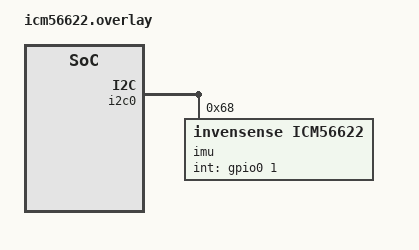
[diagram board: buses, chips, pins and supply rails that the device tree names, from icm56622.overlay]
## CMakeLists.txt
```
# Copyright The Zephyr Project Contributors
# SPDX-License-Identifier: Apache-2.0

cmake_minimum_required(VERSION 3.28.0)
find_package(Zephyr REQUIRED HINTS $ENV{ZEPHYR_BASE})
project(icm566xx)

target_include_directories(app PRIVATE ${ZEPHYR_BASE}/drivers/sensor/tdk/icm566xx)
target_sources(app PRIVATE src/main.c)
```

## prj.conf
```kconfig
# Copyright The Zephyr Project Contributors
# SPDX-License-Identifier: Apache-2.0

CONFIG_ZTEST=y
CONFIG_SENSOR=y
CONFIG_SENSOR_ASYNC_API=y
CONFIG_EMUL=y
CONFIG_GPIO=y
# No emulator backs the device, only its decoder is tested
CONFIG_SENSOR_LOG_LEVEL_OFF=y
```

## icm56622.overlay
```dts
/*
 * Copyright The Zephyr Project Contributors
 *
 * SPDX-License-Identifier: Apache-2.0
 */

#include <zephyr/dt-bindings/gpio/gpio.h>
#include <zephyr/dt-bindings/sensor/icm566xx.h>

&i2c0 {
	imu: icm56622@68 {
		compatible = "invensense,icm56622";
		reg = <0x68>;
		int-gpios = <&gpio0 1 GPIO_ACTIVE_HIGH>;
		accel-fs = <ICM566XX_DT_ACCEL_FS_16>;
		gyro-fs = <ICM566XX_DT_GYRO_FS_2000>;
		fifo-watermark = <4>;
	};
};
```

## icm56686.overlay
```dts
/*
 * Copyright The Zephyr Project Contributors
 *
 * SPDX-License-Identifier: Apache-2.0
 */

#include <zephyr/dt-bindings/gpio/gpio.h>
#include <zephyr/dt-bindings/sensor/icm566xx.h>

&i2c0 {
	imu: icm56686@68 {
		compatible = "invensense,icm56686";
		reg = <0x68>;
		int-gpios = <&gpio0 1 GPIO_ACTIVE_HIGH>;
		accel-fs = <ICM566XX_DT_ACCEL_FS_32>;
		gyro-fs = <ICM566XX_DT_GYRO_FS_4000>;
		fifo-watermark = <4>;
	};
};
```

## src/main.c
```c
/*
 * Copyright The Zephyr Project Contributors
 *
 * SPDX-License-Identifier: Apache-2.0
 */

#include <zephyr/drivers/sensor.h>
#include <zephyr/sys/byteorder.h>
#include <zephyr/ztest.h>

#include "icm566xx.h"

#define HIGH_FSR IS_ENABLED(CONFIG_DT_HAS_INVENSENSE_ICM56686_ENABLED)

/* Register data has 20 bits on the ICM56686, FIFO frames have 20 bits on both parts */
#define REG_BITS  (HIGH_FSR ? 20 : 16)
#define FIFO_BITS 20

/* FIFO frames are at the highest full scale of the part */
#define FIFO_ACCEL_FS (HIGH_FSR ? ICM566XX_DT_ACCEL_FS_32 : ICM566XX_DT_ACCEL_FS_16)
#define FIFO_GYRO_FS  (HIGH_FSR ? ICM566XX_DT_GYRO_FS_4000 : ICM566XX_DT_GYRO_FS_2000)

/* Allowed error of a decoded value, in micro-units */
#define TOLERANCE_MICRO 100

#define TIMESTAMP_NS 1234567890123ULL

/* Header byte of a 20-byte FIFO frame with accel, gyro and timestamp */
#define FIFO_HEADER 0x78

#define FIFO_FRAMES     4
#define FIFO_DATA_BYTES (FIFO_FRAMES * sizeof(struct icm566xx_encoded_fifo_payload))

/* Encoded channel mask of all channels */
#define ALL_CHANNELS 0x7F

static const struct sensor_decoder_api *decoder = SENSOR_DECODER_DT_GET(DT_NODELABEL(imu));

static const struct sensor_chan_spec chan_accel = {SENSOR_CHAN_ACCEL_XYZ, 0};
static const struct sensor_chan_spec chan_gyro = {SENSOR_CHAN_GYRO_XYZ, 0};
static const struct sensor_chan_spec chan_temp = {SENSOR_CHAN_DIE_TEMP, 0};

static const struct sensor_chan_spec chan_axes[] = {
	{SENSOR_CHAN_ACCEL_X, 0}, {SENSOR_CHAN_ACCEL_Y, 0}, {SENSOR_CHAN_ACCEL_Z, 0},
	{SENSOR_CHAN_GYRO_X, 0},  {SENSOR_CHAN_GYRO_Y, 0},  {SENSOR_CHAN_GYRO_Z, 0},
};

/* Expected shifts, indexed by the ICM566XX_DT_*_FS_* value */
static const int8_t accel_shift[] = {9, 8, 7, 6, 5};
static const int8_t gyro_shift[] = {12, 11, 10, 9, 8, 7, 6, 5, 4};

#define SHIFT_HEADROOM (HIGH_FSR ? 4 : 0)

/* One-shot sample: accel and gyro X/Y/Z, then temperature */
static const int32_t sample_raw[] = {1000, -2000, 32767, -32768, 1234, -5};
static const uint8_t sample_lsb[] = {0x5, 0xA, 0xF, 0x3, 0x0, 0xC};

static uint8_t buffer[sizeof(struct icm566xx_encoded_data) + FIFO_DATA_BYTES] __aligned(8);
static struct icm566xx_encoded_data *const edata = (struct icm566xx_encoded_data *)buffer;

static int64_t q31_to_micro(q31_t value, int8_t shift)
{
	return ((int64_t)value * 1000000) >> (31 - shift);
}

/* Expected accel value in micro-m/s^2 */
static int64_t accel_micro(int32_t raw, int bits, uint8_t fs)
{
	/* ICM566XX_DT_ACCEL_FS_32 is 32 g, each next value halves the full scale */
	return (int64_t)raw * SENSOR_G * 32 / ((1LL << (bits - 1)) << fs);
}

/* Expected gyro value in micro-rad/s */
static int64_t gyro_micro(int32_t raw, int bits, uint8_t fs)
{
	/* ICM566XX_DT_GYRO_FS_4000 is 4000 dps, each next value halves the full scale */
	return (int64_t)raw * 4000 * SENSOR_PI / 180 / ((1LL << (bits - 1)) << fs);
}

/* Expected temperature in micro-degC: 132.48 LSB/degC, 25 degC at 0 */
static int64_t temp_micro(int16_t raw)
{
	return (int64_t)raw * 100000000 / 13248 + 25000000;
}

static void check_micro(q31_t value, int8_t shift, int64_t expected)
{
	int64_t actual = q31_to_micro(value, shift);

	zassert_within(actual, expected, TOLERANCE_MICRO, "got %lld, expected %lld", actual,
		       expected);
}

/* Raw register value of sample_raw[pos], with the EXT_DATA bits on the ICM56686 */
static int32_t sample_value(int pos)
{
	return HIGH_FSR ? sample_raw[pos] * 16 + sample_lsb[pos] : sample_raw[pos];
}

static void fill_one_shot(uint8_t accel_fs, uint8_t gyro_fs, uint8_t channels, int16_t temp)
{
	uint8_t *regs = (uint8_t *)&edata->payload;

	memset(buffer, 0, sizeof(buffer));
	edata->header.timestamp = TIMESTAMP_NS;
	edata->header.accel_fs = accel_fs;
	edata->header.gyro_fs = gyro_fs;
	edata->header.channels = channels;

	for (int i = 0; i < ARRAY_SIZE(sample_raw); i++) {
		sys_put_le16((uint16_t)sample_raw[i], &regs[i * 2]);
	}
	sys_put_le16((uint16_t)temp, &regs[12]);

#if defined(CONFIG_DT_HAS_INVENSENSE_ICM56686_ENABLED)
	for (int i = 0; i < 3; i++) {
		edata->payload.ext_data[i] = sample_lsb[i] | (sample_lsb[i + 3] << 4);
	}
#endif
}

static void check_unsupported(struct sensor_chan_spec chan)
{
	struct sensor_three_axis_data out;
	uint16_t frame_count;
	uint32_t fit = 0;

	zassert_equal(decoder->get_frame_count(buffer, chan, &frame_count), -ENOTSUP);
	zassert_equal(decoder->decode(buffer, chan, &fit, 1, &out), -ENOTSUP);
}

static void check_no_data(struct sensor_chan_spec chan)
{
	struct sensor_three_axis_data out;
	uint16_t frame_count;
	uint32_t fit = 0;

	zassert_equal(decoder->get_frame_count(buffer, chan, &frame_count), -ENODATA);
	zassert_equal(decoder->decode(buffer, chan, &fit, 1, &out), -ENODATA);
}

ZTEST(icm566xx_decoder, test_size_info)
{
	size_t base_size;
	size_t frame_size;

	zassert_ok(decoder->get_size_info(chan_accel, &base_size, &frame_size));
	zassert_equal(base_size, sizeof(struct sensor_three_axis_data));
	zassert_equal(frame_size, sizeof(struct sensor_three_axis_sample_data));

	zassert_ok(decoder->get_size_info(chan_gyro, &base_size, &frame_size));
	zassert_equal(base_size, sizeof(struct sensor_three_axis_data));
	zassert_equal(frame_size, sizeof(struct sensor_three_axis_sample_data));

	zassert_ok(decoder->get_size_info(chan_temp, &base_size, &frame_size));
	zassert_equal(base_size, sizeof(struct sensor_q31_data));
	zassert_equal(frame_size, sizeof(struct sensor_q31_sample_data));

	for (int i = 0; i < ARRAY_SIZE(chan_axes); i++) {
		zassert_ok(decoder->get_size_info(chan_axes[i], &base_size, &frame_size));
		zassert_equal(base_size, sizeof(struct sensor_q31_data));
		zassert_equal(frame_size, sizeof(struct sensor_q31_sample_data));
	}

	zassert_equal(decoder->get_size_info((struct sensor_chan_spec){SENSOR_CHAN_MAGN_XYZ, 0},
					     &base_size, &frame_size),
		      -ENOTSUP);
	zassert_equal(decoder->get_size_info((struct sensor_chan_spec){SENSOR_CHAN_LIGHT, 0},
					     &base_size, &frame_size),
		      -ENOTSUP);
}

static void check_one_shot_xyz(struct sensor_chan_spec chan, int8_t shift, uint8_t fs)
{
	const int first = (chan.chan_type == SENSOR_CHAN_ACCEL_XYZ) ? 0 : 3;
	struct sensor_three_axis_data out;
	uint16_t frame_count;
	uint32_t fit = 0;

	zassert_ok(decoder->get_frame_count(buffer, chan, &frame_count));
	zassert_equal(frame_count, 1);

	zassert_equal(decoder->decode(buffer, chan, &fit, 1, &out), 1);
	zassert_equal(out.header.reading_count, 1);
	zassert_equal(out.header.base_timestamp_ns + out.readings[0].timestamp_delta, TIMESTAMP_NS);
	zassert_equal(out.shift, shift, "fs %u: shift %d", fs, out.shift);

	for (int i = 0; i < 3; i++) {
		int32_t raw = sample_value(first + i);
		int64_t expected = (first == 0) ? accel_micro(raw, REG_BITS, fs)
						: gyro_micro(raw, REG_BITS, fs);

		check_micro(out.readings[0].values[i], out.shift, expected);
	}

	zassert_equal(decoder->decode(buffer, chan, &fit, 1, &out), 0);
}

static void check_one_shot_axis(int pos, int8_t shift, uint8_t fs)
{
	struct sensor_q31_data out;
	uint16_t frame_count;
	uint32_t fit = 0;
	int32_t raw = sample_value(pos);
	int64_t expected =
		(pos < 3) ? accel_micro(raw, REG_BITS, fs) : gyro_micro(raw, REG_BITS, fs);

	zassert_ok(decoder->get_frame_count(buffer, chan_axes[pos], &frame_count));
	zassert_equal(frame_count, 1);

	zassert_equal(decoder->decode(buffer, chan_axes[pos], &fit, 1, &out), 1);
	zassert_equal(out.header.reading_count, 1);
	zassert_equal(out.header.base_timestamp_ns + out.readings[0].timestamp_delta, TIMESTAMP_NS);
	zassert_equal(out.shift, shift);
	check_micro(out.readings[0].value, out.shift, expected);
	zassert_equal(decoder->decode(buffer, chan_axes[pos], &fit, 1, &out), 0);
}

ZTEST(icm566xx_decoder, test_one_shot_accel)
{
	for (uint8_t fs = ICM566XX_DT_ACCEL_FS_32; fs <= ICM566XX_DT_ACCEL_FS_2; fs++) {
		int8_t shift = accel_shift[fs] + SHIFT_HEADROOM;

		fill_one_shot(fs, ICM566XX_DT_GYRO_FS_2000, ALL_CHANNELS, 0);
		check_one_shot_xyz(chan_accel, shift, fs);

		for (int pos = 0; pos < 3; pos++) {
			check_one_shot_axis(pos, shift, fs);
		}
	}
}

ZTEST(icm566xx_decoder, test_one_shot_gyro)
{
	for (uint8_t fs = ICM566XX_DT_GYRO_FS_4000; fs <= ICM566XX_DT_GYRO_FS_15_625; fs++) {
		int8_t shift = gyro_shift[fs] + SHIFT_HEADROOM;

		fill_one_shot(ICM566XX_DT_ACCEL_FS_16, fs, ALL_CHANNELS, 0);
		check_one_shot_xyz(chan_gyro, shift, fs);

		for (int pos = 3; pos < 6; pos++) {
			check_one_shot_axis(pos, shift, fs);
		}
	}
}

ZTEST(icm566xx_decoder, test_one_shot_temp)
{
	static const int16_t temps[] = {0, 13248, -6624, -32768, 32767};
	struct sensor_q31_data out;
	uint16_t frame_count;
	uint32_t fit;

	for (int i = 0; i < ARRAY_SIZE(temps); i++) {
		fill_one_shot(ICM566XX_DT_ACCEL_FS_16, ICM566XX_DT_GYRO_FS_2000, ALL_CHANNELS,
			      temps[i]);

		zassert_ok(decoder->get_frame_count(buffer, chan_temp, &frame_count));
		zassert_equal(frame_count, 1);

		fit = 0;
		zassert_equal(decoder->decode(buffer, chan_temp, &fit, 1, &out), 1);
		zassert_equal(out.header.reading_count, 1);
		zassert_equal(out.header.base_timestamp_ns + out.readings[0].timestamp_delta,
			      TIMESTAMP_NS);
		zassert_equal(out.shift, 9);
		check_micro(out.readings[0].temperature, out.shift, temp_micro(temps[i]));
	}
}

ZTEST(icm566xx_decoder, test_one_shot_channels)
{
	struct sensor_three_axis_data out;
	uint32_t fit = 0;

	/* Only the accelerometer was requested */
	fill_one_shot(ICM566XX_DT_ACCEL_FS_16, ICM566XX_DT_GYRO_FS_2000, 0x07, 0);

	zassert_equal(decoder->decode(buffer, chan_accel, &fit, 1, &out), 1);
	check_no_data(chan_gyro);
	check_no_data(chan_temp);
	check_no_data(chan_axes[3]);

	/* Only the accelerometer Y axis was requested */
	fill_one_shot(ICM566XX_DT_ACCEL_FS_16, ICM566XX_DT_GYRO_FS_2000, BIT(1), 0);
	fit = 0;
	zassert_equal(decoder->decode(buffer, chan_axes[1], &fit, 1, &out), 1);
	check_no_data(chan_accel);
	check_no_data(chan_axes[0]);
}

ZTEST(icm566xx_decoder, test_one_shot_errors)
{
	struct sensor_three_axis_data out;
	uint32_t fit = 0;

	fill_one_shot(ICM566XX_DT_ACCEL_FS_16, ICM566XX_DT_GYRO_FS_2000, ALL_CHANNELS, 0);

	zassert_equal(decoder->decode(buffer, chan_accel, &fit, 0, &out), 0);

	check_unsupported((struct sensor_chan_spec){SENSOR_CHAN_ACCEL_XYZ, 1});
	check_unsupported((struct sensor_chan_spec){SENSOR_CHAN_MAGN_XYZ, 0});
	check_unsupported((struct sensor_chan_spec){SENSOR_CHAN_LIGHT, 0});

	zassert_false(decoder->has_trigger(buffer, SENSOR_TRIG_DATA_READY));
	zassert_false(decoder->has_trigger(buffer, SENSOR_TRIG_FIFO_WATERMARK));
	zassert_false(decoder->has_trigger(buffer, SENSOR_TRIG_FIFO_FULL));

	/* Invalid full scale values */
	fill_one_shot(ICM566XX_DT_ACCEL_FS_2 + 1, ICM566XX_DT_GYRO_FS_15_625 + 1, ALL_CHANNELS, 0);
	fit = 0;
	zassert_equal(decoder->decode(buffer, chan_accel, &fit, 1, &out), -EINVAL);
	zassert_equal(decoder->decode(buffer, chan_gyro, &fit, 1, &out), -EINVAL);
	zassert_equal(decoder->decode(buffer, chan_temp, &fit, 1, &out), 1);
}

ZTEST(icm566xx_decoder, test_data_ready)
{
	struct sensor_three_axis_data out;
	uint16_t frame_count;
	uint32_t fit = 0;

	/* Stream buffer for a data ready trigger with SENSOR_STREAM_DATA_INCLUDE */
	fill_one_shot(ICM566XX_DT_ACCEL_FS_16, ICM566XX_DT_GYRO_FS_2000, ALL_CHANNELS, 0);
	edata->header.events = BIT(0);

	zassert_true(decoder->has_trigger(buffer, SENSOR_TRIG_DATA_READY));
	zassert_false(decoder->has_trigger(buffer, SENSOR_TRIG_FIFO_WATERMARK));
	zassert_false(decoder->has_trigger(buffer, SENSOR_TRIG_FIFO_FULL));

	zassert_ok(decoder->get_frame_count(buffer, chan_accel, &frame_count));
	zassert_equal(frame_count, 1);
	zassert_equal(decoder->decode(buffer, chan_accel, &fit, 1, &out), 1);
	zassert_equal(out.header.base_timestamp_ns, TIMESTAMP_NS);
	check_micro(out.readings[0].x, out.shift,
		    accel_micro(sample_value(0), REG_BITS, ICM566XX_DT_ACCEL_FS_16));
}

/* FIFO frame values, 20 bits */
static int32_t fifo_accel(int frame, int axis)
{
	static const int32_t base[] = {7, -3, 524287};

	return base[axis] + ((axis == 2) ? -frame : frame * (1000 - 3000 * axis));
}

static int32_t fifo_gyro(int frame, int axis)
{
	static const int32_t base[] = {-524000, 9, -9};

	return base[axis] + ((axis == 0) ? frame : frame * (333 - 4777 * axis));
}

static int16_t fifo_temp(int frame)
{
	return -5000 + frame * 3000;
}

static void fill_fifo(uint8_t events)
{
	memset(buffer, 0, sizeof(buffer));
	edata->header.timestamp = TIMESTAMP_NS;
	edata->header.events = events;
	/* As set by the driver for FIFO data */
	edata->header.accel_fs = ICM566XX_DT_ACCEL_FS_32;
	edata->header.gyro_fs = ICM566XX_DT_GYRO_FS_4000;
	edata->header.channels = ALL_CHANNELS;
	edata->header.fifo_count = FIFO_FRAMES;

	for (int i = 0; i < FIFO_FRAMES; i++) {
		uint8_t *frame = edata->fifo_payload[i].buf;

		frame[0] = FIFO_HEADER;
		for (int axis = 0; axis < 3; axis++) {
			int32_t accel = fifo_accel(i, axis);
			int32_t gyro = fifo_gyro(i, axis);

			sys_put_le16((uint16_t)(accel >> 4), &frame[1 + axis * 2]);
			sys_put_le16((uint16_t)(gyro >> 4), &frame[7 + axis * 2]);
			frame[17 + axis] = ((accel & 0xF) << 4) | (gyro & 0xF);
		}
		sys_put_le16((uint16_t)fifo_temp(i), &frame[13]);
		sys_put_le16(0x1234 + i, &frame[15]);
	}
}

/* Mark a sensor as without data in a FIFO frame */
static void fifo_no_data(int frame, int offset)
{
	sys_put_le16(FIFO_NO_DATA, &edata->fifo_payload[frame].buf[offset]);
}

static void check_fifo_xyz(struct sensor_chan_spec chan, const int *frames, int count)
{
	const bool accel = chan.chan_type == SENSOR_CHAN_ACCEL_XYZ;
	const int8_t shift = accel ? accel_shift[FIFO_ACCEL_FS] + SHIFT_HEADROOM
				   : gyro_shift[FIFO_GYRO_FS] + SHIFT_HEADROOM;
	uint8_t out_buf[sizeof(struct sensor_three_axis_data) +
			(FIFO_FRAMES - 1) * sizeof(struct sensor_three_axis_sample_data)]
		__aligned(8);
	struct sensor_three_axis_data *out = (struct sensor_three_axis_data *)out_buf;
	uint16_t frame_count;
	uint32_t fit = 0;

	zassert_ok(decoder->get_frame_count(buffer, chan, &frame_count));
	zassert_equal(frame_count, count);

	/* All readings at once */
	zassert_equal(decoder->decode(buffer, chan, &fit, FIFO_FRAMES, out), count);
	zassert_equal(out->header.reading_count, count);
	zassert_equal(out->shift, shift);

	for (int i = 0; i < count; i++) {
		const struct sensor_three_axis_sample_data *reading = &out->readings[i];

		zassert_equal(out->header.base_timestamp_ns + reading->timestamp_delta,
			      TIMESTAMP_NS);

		for (int axis = 0; axis < 3; axis++) {
			int64_t expected = accel ? accel_micro(fifo_accel(frames[i], axis),
							       FIFO_BITS, FIFO_ACCEL_FS)
						 : gyro_micro(fifo_gyro(frames[i], axis), FIFO_BITS,
							      FIFO_GYRO_FS);

			check_micro(reading->values[axis], out->shift, expected);
		}
	}

	zassert_equal(decoder->decode(buffer, chan, &fit, FIFO_FRAMES, out), 0);

	/* One reading at a time */
	fit = 0;
	for (int i = 0; i < count; i++) {
		zassert_equal(decoder->decode(buffer, chan, &fit, 1, out), 1);
		zassert_equal(out->header.reading_count, 1);
		zassert_equal(out->header.base_timestamp_ns + out->readings[0].timestamp_delta,
			      TIMESTAMP_NS);
		check_micro(out->readings[0].x, out->shift,
			    accel ? accel_micro(fifo_accel(frames[i], 0), FIFO_BITS, FIFO_ACCEL_FS)
				  : gyro_micro(fifo_gyro(frames[i], 0), FIFO_BITS, FIFO_GYRO_FS));
	}
	zassert_equal(decoder->decode(buffer, chan, &fit, 1, out), 0);
}

static void check_fifo_temp(const int *frames, int count)
{
	uint8_t out_buf[sizeof(struct sensor_q31_data) +
			(FIFO_FRAMES - 1) * sizeof(struct sensor_q31_sample_data)] __aligned(8);
	struct sensor_q31_data *out = (struct sensor_q31_data *)out_buf;
	uint16_t frame_count;
	uint32_t fit = 0;

	zassert_ok(decoder->get_frame_count(buffer, chan_temp, &frame_count));
	zassert_equal(frame_count, count);

	zassert_equal(decoder->decode(buffer, chan_temp, &fit, FIFO_FRAMES, out), count);
	zassert_equal(out->header.reading_count, count);
	zassert_equal(out->shift, 9);

	for (int i = 0; i < count; i++) {
		zassert_equal(out->header.base_timestamp_ns + out->readings[i].timestamp_delta,
			      TIMESTAMP_NS);
		check_micro(out->readings[i].temperature, out->shift,
			    temp_micro(fifo_temp(frames[i])));
	}

	zassert_equal(decoder->decode(buffer, chan_temp, &fit, FIFO_FRAMES, out), 0);

	fit = 0;
	for (int i = 0; i < count; i++) {
		zassert_equal(decoder->decode(buffer, chan_temp, &fit, 1, out), 1);
		check_micro(out->readings[0].temperature, out->shift,
			    temp_micro(fifo_temp(frames[i])));
	}
	zassert_equal(decoder->decode(buffer, chan_temp, &fit, 1, out), 0);
}

ZTEST(icm566xx_decoder, test_fifo)
{
	static const int all[] = {0, 1, 2, 3};

	fill_fifo(BIT(1));

	zassert_true(decoder->has_trigger(buffer, SENSOR_TRIG_FIFO_WATERMARK));
	zassert_false(decoder->has_trigger(buffer, SENSOR_TRIG_FIFO_FULL));
	zassert_false(decoder->has_trigger(buffer, SENSOR_TRIG_DATA_READY));

	check_fifo_xyz(chan_accel, all, FIFO_FRAMES);
	check_fifo_xyz(chan_gyro, all, FIFO_FRAMES);
	check_fifo_temp(all, FIFO_FRAMES);

	/* Single axes are not decoded from FIFO frames */
	for (int i = 0; i < ARRAY_SIZE(chan_axes); i++) {
		check_unsupported(chan_axes[i]);
	}
	check_unsupported((struct sensor_chan_spec){SENSOR_CHAN_ACCEL_XYZ, 1});
	check_unsupported((struct sensor_chan_spec){SENSOR_CHAN_LIGHT, 0});
}

ZTEST(icm566xx_decoder, test_fifo_full)
{
	static const int all[] = {0, 1, 2, 3};

	/* Data ready may be flagged along with FIFO events */
	fill_fifo(BIT(2) | BIT(0));

	zassert_true(decoder->has_trigger(buffer, SENSOR_TRIG_FIFO_FULL));
	zassert_false(decoder->has_trigger(buffer, SENSOR_TRIG_FIFO_WATERMARK));

	check_fifo_xyz(chan_accel, all, FIFO_FRAMES);
	check_fifo_temp(all, FIFO_FRAMES);
}

ZTEST(icm566xx_decoder, test_fifo_no_data)
{
	static const int accel_frames[] = {0, 2, 3};
	static const int gyro_frames[] = {0, 1, 2};
	static const int temp_frames[] = {1, 2, 3};

	fill_fifo(BIT(1));
	fifo_no_data(1, 5);
	fifo_no_data(3, 9);
	fifo_no_data(0, 13);

	check_fifo_xyz(chan_accel, accel_frames, ARRAY_SIZE(accel_frames));
	check_fifo_xyz(chan_gyro, gyro_frames, ARRAY_SIZE(gyro_frames));
	check_fifo_temp(temp_frames, ARRAY_SIZE(temp_frames));
}

ZTEST(icm566xx_decoder, test_fifo_bad_header)
{
	fill_fifo(BIT(1));
	/* Extended header */
	edata->fifo_payload[2].buf[0] = 0xF8;

	check_unsupported(chan_accel);
	check_unsupported(chan_temp);
}

ZTEST(icm566xx_decoder, test_header_only)
{
	/* Stream buffer for a FIFO trigger with SENSOR_STREAM_DATA_NOP or _DROP */
	memset(buffer, 0, sizeof(buffer));
	edata->header.timestamp = TIMESTAMP_NS;
	edata->header.events = BIT(1);

	zassert_true(decoder->has_trigger(buffer, SENSOR_TRIG_FIFO_WATERMARK));
	check_no_data(chan_accel);
	check_no_data(chan_gyro);
	check_no_data(chan_temp);

	/* Same for a data ready trigger */
	edata->header.events = BIT(0);
	zassert_true(decoder->has_trigger(buffer, SENSOR_TRIG_DATA_READY));
	check_no_data(chan_accel);
	check_no_data(chan_axes[4]);
}

ZTEST_SUITE(icm566xx_decoder, NULL, NULL, NULL, NULL, NULL);
```
